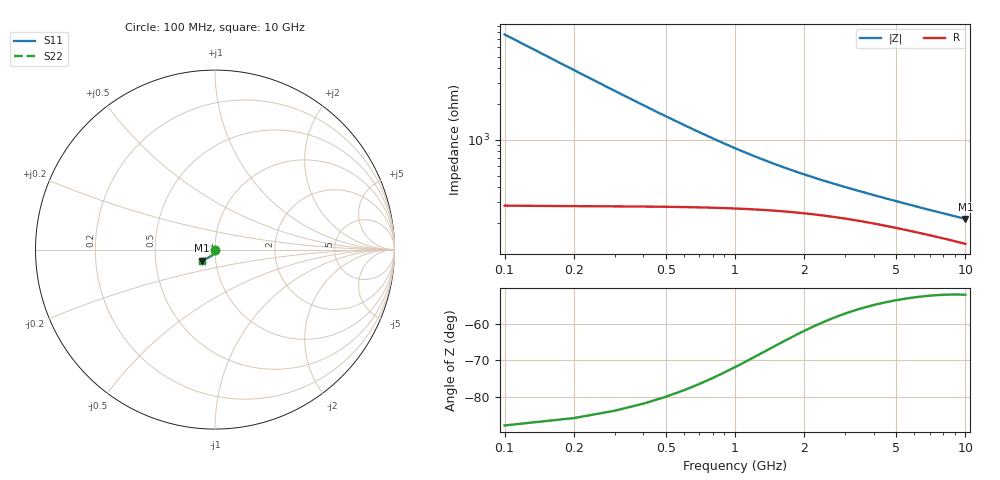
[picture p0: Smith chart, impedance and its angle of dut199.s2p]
! Touchstone file exported from HFSS 2024.1.0
!  File:  C:/UserFiles/LocalFiles/RDL_TSV_Batchsim/temp_TSV1_199_1778757216.aedt
!  Generated:  07:17:06 PM May 14, 2026
!  Design:  TSV1
!  Project:  temp_TSV1_199_1778757216
!  Setup:  Setup1
!  Solution:  Sweep
! Variables:
!  dtsv = 26.27um
!  hbump = 3um
!  htsv = 64.92um
!  lrdl = 252.1521522um
!  p = 40
!  p1 = 59.96um
!  t = 500um
!  trdl = 3um
!  wrdl = 24.89489489um
# GHz S MA R 50.000000
! Terminal data exported
! Port[1] = TSV22_T1
! Port[2] = TSV22_T2
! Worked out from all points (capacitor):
!   100 points, 100 MHz to 10 GHz, reference 50 ohm
!   read as one part in shunt: C = 207 fF near 100 MHz
!   lowest |Z| = 216 ohm at 10 GHz (marker M1)
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0.1  0.003007 -91.0  0.9998 -0.2  0.9998 -0.2  0.003007 -91.0
! Gamma 0 0 0 0
! Port Impedance 50 0 50 0
0.2  0.005991 -93.9  0.9994 -0.4  0.9994 -0.4  0.005991 -93.9
0.3  0.008932 -96.3  0.9988 -0.6  0.9988 -0.6  0.008932 -96.3
0.4  0.01181 -98.6  0.998 -0.8  0.998 -0.8  0.01181 -98.6
0.5  0.01461 -100.8  0.9969 -1.0  0.9969 -1.0  0.01461 -100.8
0.6  0.01732 -102.9  0.9958 -1.1  0.9958 -1.1  0.01732 -102.9
0.7  0.01993 -104.9  0.9945 -1.3  0.9945 -1.3  0.01993 -104.9
0.8  0.02243 -106.8  0.9931 -1.4  0.9931 -1.4  0.02243 -106.8
0.9  0.02482 -108.6  0.9917 -1.6  0.9917 -1.6  0.02482 -108.6
1.1  0.02925 -111.9  0.9887 -1.8  0.9887 -1.8  0.02925 -111.9
1.4  0.03509 -116.1  0.9843 -2.1  0.9843 -2.1  0.03509 -116.1
1.6  0.0385 -118.5  0.9815 -2.3  0.9815 -2.3  0.0385 -118.5
1.8  0.04158 -120.6  0.9788 -2.5  0.9788 -2.5  0.04158 -120.6
2.1  0.04568 -123.2  0.9751 -2.7  0.9751 -2.7  0.04568 -123.2
2.5  0.05042 -126.0  0.9706 -2.9  0.9706 -2.9  0.05042 -126.0
2.9  0.05455 -128.1  0.9667 -3.2  0.9667 -3.2  0.05455 -128.1
3.4  0.0591 -130.2  0.9624 -3.4  0.9624 -3.4  0.0591 -130.2
4.2  0.06543 -132.5  0.9565 -3.8  0.9565 -3.8  0.06543 -132.5
5.1  0.07155 -134.5  0.9508 -4.2  0.9508 -4.2  0.07155 -134.5
6.7  0.08063 -136.8  0.9426 -4.8  0.9426 -4.8  0.08063 -136.8
8.4  0.0885 -138.5  0.9356 -5.4  0.9356 -5.4  0.0885 -138.5
10  0.09478 -139.5  0.9303 -5.9  0.9303 -5.9  0.09478 -139.5
